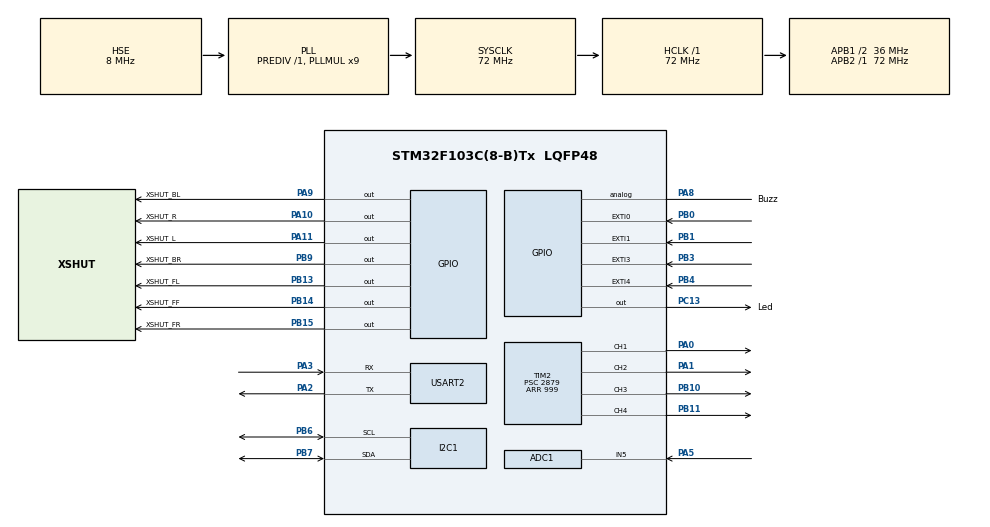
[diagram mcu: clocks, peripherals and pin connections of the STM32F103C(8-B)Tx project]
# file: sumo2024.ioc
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ADC1.Channel-8\#ChannelRegularConversion=ADC_CHANNEL_5
ADC1.ContinuousConvMode=ENABLE
ADC1.NbrOfConversionFlag=1
ADC1.Rank-8\#ChannelRegularConversion=1
ADC1.SamplingTime-8\#ChannelRegularConversion=ADC_SAMPLETIME_239CYCLES_5
ADC1.master=1
Dma.ADC1.1.Direction=DMA_PERIPH_TO_MEMORY
Dma.ADC1.1.Instance=DMA1_Channel1
Dma.ADC1.1.MemDataAlignment=DMA_MDATAALIGN_HALFWORD
Dma.ADC1.1.MemInc=DMA_MINC_ENABLE
Dma.ADC1.1.Mode=DMA_NORMAL
Dma.ADC1.1.PeriphDataAlignment=DMA_PDATAALIGN_HALFWORD
Dma.ADC1.1.PeriphInc=DMA_PINC_DISABLE
Dma.ADC1.1.Priority=DMA_PRIORITY_LOW
Dma.Request0=USART2_RX
Dma.Request1=ADC1
Dma.USART2_RX.0.Direction=DMA_PERIPH_TO_MEMORY
Dma.USART2_RX.0.Instance=DMA1_Channel6
Dma.USART2_RX.0.MemDataAlignment=DMA_MDATAALIGN_BYTE
Dma.USART2_RX.0.MemInc=DMA_MINC_ENABLE
Dma.USART2_RX.0.Mode=DMA_NORMAL
Dma.USART2_RX.0.PeriphDataAlignment=DMA_PDATAALIGN_BYTE
Dma.USART2_RX.0.PeriphInc=DMA_PINC_DISABLE
Dma.USART2_RX.0.Priority=DMA_PRIORITY_LOW
I2C1.I2C_Mode=I2C_Fast
Mcu.Family=STM32F1
Mcu.Name=STM32F103C(8-B)Tx
Mcu.Package=LQFP48
NVIC.DMA1_Channel1_IRQn=true\:1\:0\:true\:false\:true\:false\:true\:true
NVIC.DMA1_Channel6_IRQn=true\:1\:0\:true\:false\:true\:false\:true\:true
NVIC.EXTI0_IRQn=true\:1\:0\:true\:false\:true\:true\:true\:true
NVIC.EXTI1_IRQn=true\:1\:0\:true\:false\:true\:true\:true\:true
NVIC.EXTI3_IRQn=true\:1\:0\:true\:false\:true\:true\:true\:true
NVIC.EXTI4_IRQn=true\:1\:0\:true\:false\:true\:true\:true\:true
NVIC.PriorityGroup=NVIC_PRIORITYGROUP_4
NVIC.USART2_IRQn=true\:1\:0\:true\:false\:true\:true\:true\:true
PA0-WKUP.Signal=S_TIM2_CH1_ETR
PA1.Signal=S_TIM2_CH2
PA10.GPIO_Label=XSHUT_R
PA10.Signal=GPIO_Output
PA11.GPIO_Label=XSHUT_L
PA11.Signal=GPIO_Output
PA13.Mode=Serial_Wire
PA13.Signal=SYS_JTMS-SWDIO
PA14.Mode=Serial_Wire
PA14.Signal=SYS_JTCK-SWCLK
PA2.Mode=Asynchronous
PA2.Signal=USART2_TX
PA3.Mode=Asynchronous
PA3.Signal=USART2_RX
PA5.Signal=ADCx_IN5
PA8.GPIO_Label=Buzz
PA8.Signal=GPIO_Analog
PA9.GPIO_Label=XSHUT_BL
PA9.Signal=GPIO_Output
PB0.GPIO_PuPd=GPIO_PULLDOWN
PB0.Signal=GPXTI0
PB1.GPIO_PuPd=GPIO_PULLDOWN
PB1.Signal=GPXTI1
PB10.Signal=S_TIM2_CH3
PB11.Signal=S_TIM2_CH4
PB13.GPIO_Label=XSHUT_FL
PB13.Signal=GPIO_Output
PB14.GPIO_Label=XSHUT_FF
PB14.Signal=GPIO_Output
PB15.GPIO_Label=XSHUT_FR
PB15.Signal=GPIO_Output
PB3.GPIO_PuPd=GPIO_PULLDOWN
PB3.Signal=GPXTI3
PB4.GPIO_PuPd=GPIO_PULLDOWN
PB4.Signal=GPXTI4
PB6.Mode=I2C
PB6.Signal=I2C1_SCL
PB7.Mode=I2C
PB7.Signal=I2C1_SDA
PB9.GPIO_Label=XSHUT_BR
PB9.Signal=GPIO_Output
PC13-TAMPER-RTC.GPIO_Label=Led
PC13-TAMPER-RTC.Signal=GPIO_Output
PD0-OSC_IN.Mode=HSE-External-Oscillator
PD0-OSC_IN.Signal=RCC_OSC_IN
PD1-OSC_OUT.Mode=HSE-External-Oscillator
PD1-OSC_OUT.Signal=RCC_OSC_OUT
ProjectManager.HeapSize=0x200
ProjectManager.StackSize=0x400
ProjectManager.TargetToolchain=MDK-ARM V5
RCC.ADCPresc=RCC_ADCPCLK2_DIV6
RCC.AHBFreq_Value=72000000
RCC.APB1CLKDivider=RCC_HCLK_DIV2
RCC.APB1Freq_Value=36000000
RCC.APB1TimFreq_Value=72000000
RCC.APB2Freq_Value=72000000
RCC.APB2TimFreq_Value=72000000
RCC.HCLKFreq_Value=72000000
RCC.PLLMUL=RCC_PLL_MUL9
RCC.PLLSourceVirtual=RCC_PLLSOURCE_HSE
RCC.SYSCLKFreq_VALUE=72000000
RCC.SYSCLKSource=RCC_SYSCLKSOURCE_PLLCLK
RCC.USBFreq_Value=72000000
SH.ADCx_IN5.0=ADC1_IN5,IN5
SH.S_TIM2_CH1_ETR.0=TIM2_CH1,PWM Generation1 CH1
SH.S_TIM2_CH2.0=TIM2_CH2,PWM Generation2 CH2
SH.S_TIM2_CH3.0=TIM2_CH3,PWM Generation3 CH3
SH.S_TIM2_CH4.0=TIM2_CH4,PWM Generation4 CH4
TIM1.Period=999
TIM1.Prescaler=79
TIM2.AutoReloadPreload=TIM_AUTORELOAD_PRELOAD_DISABLE
TIM2.Channel-PWM\ Generation1\ CH1=TIM_CHANNEL_1
TIM2.Channel-PWM\ Generation2\ CH2=TIM_CHANNEL_2
TIM2.Channel-PWM\ Generation3\ CH3=TIM_CHANNEL_3
TIM2.Channel-PWM\ Generation4\ CH4=TIM_CHANNEL_4
TIM2.OCMode_PWM-PWM\ Generation3\ CH3=TIM_OCMODE_PWM1
TIM2.OCMode_PWM-PWM\ Generation4\ CH4=TIM_OCMODE_PWM1
TIM2.Period=999
TIM2.Prescaler=2879
USART2.VirtualMode=VM_ASYNC
VP_TIM1_VS_ClockSourceINT.Mode=Internal
VP_TIM2_VS_ClockSourceINT.Mode=Internal
VP_TIM3_VS_ClockSourceINT.Mode=Internal
board=custom

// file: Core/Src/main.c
/* USER CODE BEGIN Header */
/**
 ******************************************************************************
 * @file           : main.c
 * @brief          : Main program body
 ******************************************************************************
 * @attention
 *
 * Copyright (c) 2024 STMicroelectronics.
 * All rights reserved.
 *
 * This software is licensed under terms that can be found in the LICENSE file
 * in the root directory of this software component.
 * If no LICENSE file comes with this software, it is provided AS-IS.
 *
 ******************************************************************************
 */
/* USER CODE END Header */
#include "main.h"

/* USER CODE BEGIN Includes */

#include "stm32f1xx.h"
#include "tim_pwm.h"
#include "AML_LaserSensor.h"
#include "parameter.h"
#include "AML_MPUSensor.h"
// #include <stdbool.h>

/* USER CODE END Includes */

ADC_HandleTypeDef hadc1;
DMA_HandleTypeDef hdma_adc1;

I2C_HandleTypeDef hi2c1;

TIM_HandleTypeDef htim1;
TIM_HandleTypeDef htim2;
TIM_HandleTypeDef htim3;

UART_HandleTypeDef huart2;
DMA_HandleTypeDef hdma_usart2_rx;

/* USER CODE BEGIN PV */

uint8_t u8_fr = 1; // gpio_ext3
uint8_t u8_fl = 1; // gpio_ext0
uint8_t u8_br = 1; // gpio_ext4
uint8_t u8_bl = 1; // gpio_ext1
uint16_t currentIndex = 1;
uint32_t timer_begin_exit_L = 0;
uint32_t timer_begin_exit_R = 0;
// co interrupt
bool flagInterrupt_fl = false;
bool flagInterrupt_bl = false;
bool flagInterrupt_br = false;
bool flagInterrupt_fr = false;
bool flag_exit_R = false;
bool flag_exit_L = false;
int32_t timer1 = 0;
uint8_t i = 0;
double testAnge;
uint16_t target = 0;
int16_t old_ADC_value;
int16_t new_ADC_value = 4095; // Giá trị mới
uint16_t button[Array_Size_Button];
uint16_t adcvalue;
uint16_t temp;
static uint8_t plan_begin_danh_trai_called = 0;
static uint8_t plan_begin_danh_phai_called = 0;
static uint8_t plan_begin_dam_thang_called = 0;
static uint8_t plan_begin_Rote_callled = 0;
static uint8_t delay_done = 0;
#define RX_SIZE 36
uint8_t rxBuffer[RX_SIZE] = {119};
uint8_t ResetCommand[] = {0xFF, 0xAA, 0x52};
volatile double Angle, PreviousAngle = 0, SaveAngle = 0;
volatile uint8_t error = 0;
double g[3], T;

void (*func)();            // tro den ham chien thuat
void (*plan)(void) = NULL; // tro den ham bat dau
/* USER CODE END PV */

void SystemClock_Config(void);
static void MX_GPIO_Init(void);
static void MX_DMA_Init(void);
static void MX_I2C1_Init(void);
static void MX_TIM1_Init(void);
static void MX_ADC1_Init(void);
static void MX_TIM2_Init(void);
static void MX_USART2_UART_Init(void);
static void MX_TIM3_Init(void);
/* USER CODE BEGIN PFP */

void HAL_UARTEx_RxEventCallback(UART_HandleTypeDef *huart, uint16_t Size)
{
  HAL_UARTEx_ReceiveToIdle_DMA(&huart2, rxBuffer, RX_SIZE);
  PreviousAngle = Angle;
  if (rxBuffer[22] == 0x55)
  {
    g[0] = ((rxBuffer[25] << 8 | rxBuffer[24])) / 32768.0 * 180;
    g[1] = ((rxBuffer[27] << 8 | rxBuffer[26])) / 32768.0 * 180;
    g[2] = ((rxBuffer[29] << 8 | rxBuffer[28])) / 32768.0 * 180;
    T = ((rxBuffer[9] << 8 | rxBuffer[8])) / 340.0 + 36.25;
    math_PID(g[2]);
  }
}

/* USER CODE END PFP */

/* USER CODE BEGIN 0 */

void AML_motor_stop()
{
  PWM_Start(&htim2, LPWM1);
  PWM_Start(&htim2, LPWM2);
  PWM_Start(&htim2, RPWM1);
  PWM_Start(&htim2, RPWM2);
  PWM_Write(&htim2, LPWM1, 0);
  PWM_Write(&htim2, LPWM2, 0);
  PWM_Write(&htim2, RPWM1, 0);
  PWM_Write(&htim2, RPWM2, 0);
}
void AML_motor_forward(uint8_t speed)
{
  PWM_Start(&htim2, RPWM2);
  PWM_Start(&htim2, RPWM1);
  PWM_Write(&htim2, RPWM2, speed);
  PWM_Write(&htim2, RPWM1, speed);
}
void AML_motor_lef(uint8_t speed_L, uint8_t speed_R)
{
  PWM_Start(&htim2, RPWM2);
  PWM_Start(&htim2, LPWM1);
  PWM_Write(&htim2, RPWM2, speed_L - 50);
  PWM_Write(&htim2, LPWM1, speed_R);
}
void AML_motor_right(uint8_t speed_L, uint8_t speed_R)
{
  PWM_Start(&htim2, LPWM2);
  PWM_Start(&htim2, RPWM1);
  PWM_Write(&htim2, LPWM2, speed_L);
  PWM_Write(&htim2, RPWM1, speed_R - 50);
}
void AML_motor_back(uint8_t speed)
{
  PWM_Start(&htim2, LPWM1);
  PWM_Start(&htim2, LPWM2);
  PWM_Write(&htim2, LPWM1, speed);
  PWM_Write(&htim2, LPWM2, speed);
}
void AML_motor_turn_left(uint8_t speed_L, uint8_t speed_R)
{
  PWM_Start(&htim2, LPWM1);
  PWM_Start(&htim2, RPWM2);
  PWM_Write(&htim2, LPWM1, speed_L);
  PWM_Write(&htim2, RPWM2, speed_R);
}
void AML_motor_turn_right(uint8_t speed_R, uint8_t speed_L)
{
  PWM_Start(&htim2, RPWM1);
  PWM_Start(&htim2, LPWM2);
  PWM_Write(&htim2, RPWM1, speed_R);
  PWM_Write(&htim2, LPWM2, speed_L);
}
void delay_ms(uint32_t milliseconds)
{
  HAL_TIM_Base_Start(&htim3); // Start TIM3
  uint32_t start_time = HAL_GetTick();
  while (HAL_GetTick() - start_time < milliseconds)
  {
    // Wait
  }
  HAL_TIM_Base_Stop(&htim3); // Stop TIM3
}
void AML_IRSensor_standby()
{
  const uint32_t time1 = 500;

  while (flagInterrupt_fl && HAL_GetTick() - timer1 < time1)
    ;
  while (flagInterrupt_bl && HAL_GetTick() - timer1 < time1)
    ;
  while (flagInterrupt_br && HAL_GetTick() - timer1 < time1)
    ;
  while (flagInterrupt_fr && HAL_GetTick() - timer1 < time1)
    ;
  // dat lai co
  flagInterrupt_bl = false;
  flagInterrupt_br = false;
  flagInterrupt_fl = false;
  flagInterrupt_fr = false;
  AML_motor_stop();
}
void exit_R()
{
  uint32_t timer_exit_R = 1000;
  while (flag_exit_R && HAL_GetTick() - timer_begin_exit_R < timer_exit_R)
    ;
  PWM_Start(&htim2, RPWM2);
  PWM_Write(&htim2, RPWM2, 150);
  flag_exit_R = false;
}
void exit_L()
{
  uint32_t timer_exit_L = 1000;
  while (flag_exit_L && HAL_GetTick() - timer_begin_exit_L < timer_exit_L)
    ;
  PWM_Start(&htim2, RPWM1);
  PWM_Write(&htim2, RPWM1, 150);
  flag_exit_L = false;
}
void search1()
{
  target = searchNearest();
  if (target == 0)
  {
    /*
    khong tim thay doi thu
    xoay tron tim doi thu
    */
    // AML_motor_rote(PWM_speed_L, PWM_speed_R);
    HAL_GPIO_TogglePin(Led_GPIO_Port, Led_Pin);
    HAL_Delay(delay1);
  }
  if (target == 2)
  {
    // FF dam dau
    if (AML_LaserSensor_ReadSingleWithFillter(FF) < 100)
    {
      AML_motor_forward(PWM_speed);
    }
    else
    {
      AML_motor_forward(PWM_speed - 40);
    }
    HAL_GPIO_TogglePin(Led_GPIO_Port, Led_Pin);
    HAL_Delay(delay1);
  }
  if (target == 1)
  {
    // FL re trai
    if (AML_LaserSensor_ReadSingleWithFillter(FL) < 100)
    {
      AML_motor_lef(PWM_speed_L - 50, PWM_speed_R);
    }

    else
    {
      AML_motor_lef(PWM_speed_L - 50, PWM_speed_R);
    }
    HAL_GPIO_TogglePin(Led_GPIO_Port, Led_Pin);
    HAL_Delay(delay1);
  }
  if (target == 3)
  {
    if (AML_LaserSensor_ReadSingleWithFillter(FR) < 100)
    {
      AML_motor_right(PWM_speed_L, PWM_speed_R - 50);
    }
    else
    {
      AML_motor_right(PWM_speed_L, PWM_speed_R - 50);
    }
    HAL_GPIO_TogglePin(Led_GPIO_Port, Led_Pin);
    HAL_Delay(delay1);
  }
  if (target == 6)
  {
    // R quay sang phai
    AML_motor_right(PWM_speed_L, PWM_speed_R - 50);
    // timer_begin_exit_R = HAL_GetTick();
    // flag_exit_R = true;
    HAL_GPIO_TogglePin(Led_GPIO_Port, Led_Pin);
    HAL_Delay(100);
  }
  if (target == 7)
  {
    AML_motor_lef(PWM_speed_L - 50, PWM_speed_R);
    // timer_begin_exit_L = HAL_GetTick();
    // flag_exit_L = true;
    HAL_GPIO_TogglePin(Led_GPIO_Port, Led_Pin);
    HAL_Delay(100);
  }
  if (target == 4 || target == 5)
  {
    if (AML_LaserSensor_ReadSingleWithFillter(BL) < 40 || AML_LaserSensor_ReadSingleWithFillter(BR) < 40)
    {
      AML_motor_back(150);
    }
    else
    {
      AML_motor_back(100);
    }
    HAL_GPIO_TogglePin(Led_GPIO_Port, Led_Pin);
    HAL_Delay(delay1);
  }
}
void search2()
{
  target = searchNearest();
  switch (target)
  {
  case 0:
    AML_motor_stop();
    HAL_GPIO_TogglePin(Led_GPIO_Port, Led_Pin);
    break;
  case 1:
    AML_motor_lef(PWM_speed_L - 50, PWM_speed_R);
    HAL_Delay(50);
    HAL_GPIO_TogglePin(Led_GPIO_Port, Led_Pin);
    break;
  case 2:
    AML_motor_forward(PWM_speed);
    HAL_Delay(100);
    HAL_GPIO_TogglePin(Led_GPIO_Port, Led_Pin);
    break;
  case 3:
    AML_motor_right(PWM_speed_L, PWM_speed_R - 50);
    HAL_Delay(50);
    HAL_GPIO_TogglePin(Led_GPIO_Port, Led_Pin);
    break;
  case 4:
    AML_motor_back(150);
    HAL_Delay(100);
    HAL_GPIO_TogglePin(Led_GPIO_Port, Led_Pin);
    break;
  case 5:
    AML_motor_back(150);
    HAL_Delay(100);
    HAL_GPIO_TogglePin(Led_GPIO_Port, Led_Pin);
    break;
  case 6:
    AML_motor_right(PWM_speed_L, PWM_speed_R - 50);
    // timer_begin_exit_R = HAL_GetTick();
    // flag_exit_R = true;
    HAL_Delay(120);
    HAL_GPIO_TogglePin(Led_GPIO_Port, Led_Pin);
    break;
  case 7:
    AML_motor_lef(PWM_speed_L - 50, PWM_speed_R);
    // timer_begin_exit_L = HAL_GetTick();
    // flag_exit_L = true;
    HAL_Delay(120);
    HAL_GPIO_TogglePin(Led_GPIO_Port, Led_Pin);
    break;
  }
}
void plan_begin_danh_trai()
{
  AML_motor_forward(150);
  delay_ms(500);
  HAL_GPIO_WritePin(Led_GPIO_Port, Led_Pin, GPIO_PIN_RESET);
  AML_motor_turn_left(150, 150);
  delay_ms(800);
  HAL_GPIO_WritePin(Led_GPIO_Port, Led_Pin, GPIO_PIN_SET);
}
void plan_begin_danh_phai()
{
  AML_motor_forward(150);
  delay_ms(500);
  HAL_GPIO_WritePin(Led_GPIO_Port, Led_Pin, GPIO_PIN_RESET);
  AML_motor_turn_right(150, 150);
  delay_ms(800);
  HAL_GPIO_WritePin(Led_GPIO_Port, Led_Pin, GPIO_PIN_SET);
}
void plan_begin_dam_thang()
{
  AML_motor_forward(150);
  delay_ms(800);
  HAL_GPIO_TogglePin(Led_GPIO_Port, Led_Pin);
}
void plan_begin_Rote()
{
  AML_motor_turn_left(150, 150);
  delay_ms(500);
  AML_motor_stop();
  AML_motor_forward(150);
  delay_ms(500);

}
uint16_t read_analog_value(uint16_t new_value)
{
  // If the new value is 4095, skip updating
  if (new_value == 4095)
  {
    return old_ADC_value;
  }

  // Store the old value
  temp = old_ADC_value;

  // Update the old value
  old_ADC_value = new_value;

  return old_ADC_value;
}

void readADCStore()
{
  // Assume you have read the ADC value and stored it in adcvalue
  HAL_ADC_Start_DMA(&hadc1, (uint32_t *)button, 1);
  adcvalue = button[0]; // Replace with your actual ADC reading
  // Call the function to update the old ADC value
  uint16_t updated_ADC_value = read_analog_value(adcvalue);
  // Example logic based on the updated ADC value
  if (updated_ADC_value == 0)
  {
    AML_motor_stop();
    HAL_GPIO_TogglePin(Led_GPIO_Port, Led_Pin);
    plan_begin_danh_trai_called = 0;
    plan_begin_dam_thang_called = 0;
    plan_begin_danh_phai_called = 0;
    delay_done = 0;
  }
  else if (400 <= updated_ADC_value && updated_ADC_value <= 500)
  {
    if (!delay_done)
    {
      uint32_t start = HAL_GetTick();
      while (HAL_GetTick() - start < time_delay_begin)
        ;
      delay_done = 1;
    }
    if (!plan_begin_danh_trai_called)
    {
      // plan = &plan_begin_danh_trai;
      plan_begin_danh_trai();
      plan_begin_danh_trai_called = 1;
    }
    search2();
    HAL_GPIO_TogglePin(Led_GPIO_Port, Led_Pin);
  }
  else if (700 <= updated_ADC_value && updated_ADC_value <= 800)
  {
    if (!delay_done)
    {
      uint32_t start = HAL_GetTick();
      while (HAL_GetTick() - start < time_delay_begin)
        ;
      delay_done = 1;
    }
    if (!plan_begin_danh_phai_called)
    {
      plan_begin_danh_phai();
      plan_begin_danh_phai_called = 1;
    }
    search1();
    HAL_GPIO_TogglePin(Led_GPIO_Port, Led_Pin);
  }
  else if (3100 <= updated_ADC_value && updated_ADC_value <= 3200)
  {
    if (!delay_done)
    {
      uint32_t start = HAL_GetTick();
      while (HAL_GetTick() - start < time_delay_begin)
        ;
      delay_done = 1;
    }
    if (!plan_begin_dam_thang_called)
    {
      plan_begin_dam_thang();
      plan_begin_dam_thang_called = 1;
    }
    search2();
    HAL_GPIO_TogglePin(Led_GPIO_Port, Led_Pin);
  }
  else if (200 <= updated_ADC_value && updated_ADC_value <= 300)
  {
    if (!delay_done)
    {
      uint32_t start = HAL_GetTick();
      while (HAL_GetTick() - start < time_delay_begin)
        ;
      delay_done = 1;
    }
    if (!plan_begin_Rote_callled)
    {
      plan_begin_Rote();
      plan_begin_Rote_callled = 1;
    }
    search1();
    HAL_GPIO_TogglePin(Led_GPIO_Port, Led_Pin);
  }
  else
  {
    AML_motor_stop();
    HAL_GPIO_TogglePin(Led_GPIO_Port, Led_Pin);
    plan_begin_danh_trai_called = 0;
    plan_begin_dam_thang_called = 0;
    plan_begin_danh_phai_called = 0;
    delay_done = 0;
  }
}
/* USER CODE END 0 */

int main(void)
{

  /* MCU Configuration--------------------------------------------------------*/

  /* Reset of all peripherals, Initializes the Flash interface and the Systick. */
  HAL_Init();

  /* Configure the system clock */
  SystemClock_Config();

  /* Initialize all configured peripherals */
  MX_GPIO_Init();
  MX_DMA_Init();
  MX_I2C1_Init();
  MX_TIM1_Init();
  MX_ADC1_Init();
  MX_TIM2_Init();
  MX_USART2_UART_Init();
  MX_TIM3_Init();
  /* USER CODE BEGIN 2 */
  // HAL_Delay(3000); // delay 3s
  HAL_TIM_Base_Start(&htim2);
  AML_LaserSensor_Setup();
  HAL_UARTEx_ReceiveToIdle_DMA(&huart2, rxBuffer, RX_SIZE);
  __HAL_DMA_DISABLE_IT(&hdma_usart2_rx, DMA_IT_HT);
  AML_motor_stop();
  HAL_GPIO_WritePin(Led_GPIO_Port, Led_Pin, GPIO_PIN_RESET);

  /* USER CODE END 2 */

  /* Infinite loop */
  while (1)
  {

    /* USER CODE BEGIN 3 */
    readADCStore();
    AML_LaserSensor_ReadAll();
    print_sensorvalue();
    AML_IRSensor_standby();
    // exit_R();
    // exit_L();
    HAL_GPIO_TogglePin(Led_GPIO_Port, Led_Pin);
  }

  /* USER CODE END 3 */
}

void SystemClock_Config(void)
{
  RCC_OscInitTypeDef RCC_OscInitStruct = {0};
  RCC_ClkInitTypeDef RCC_ClkInitStruct = {0};
  RCC_PeriphCLKInitTypeDef PeriphClkInit = {0};

  /** Initializes the RCC Oscillators according to the specified parameters
   * in the RCC_OscInitTypeDef structure.
   */
  RCC_OscInitStruct.OscillatorType = RCC_OSCILLATORTYPE_HSE;
  RCC_OscInitStruct.HSEState = RCC_HSE_ON;
  RCC_OscInitStruct.HSEPredivValue = RCC_HSE_PREDIV_DIV1;
  RCC_OscInitStruct.HSIState = RCC_HSI_ON;
  RCC_OscInitStruct.PLL.PLLState = RCC_PLL_ON;
  RCC_OscInitStruct.PLL.PLLSource = RCC_PLLSOURCE_HSE;
  RCC_OscInitStruct.PLL.PLLMUL = RCC_PLL_MUL9;
  if (HAL_RCC_OscConfig(&RCC_OscInitStruct) != HAL_OK)
  {
    Error_Handler();
  }

  /** Initializes the CPU, AHB and APB buses clocks
   */
  RCC_ClkInitStruct.ClockType = RCC_CLOCKTYPE_HCLK | RCC_CLOCKTYPE_SYSCLK | RCC_CLOCKTYPE_PCLK1 | RCC_CLOCKTYPE_PCLK2;
  RCC_ClkInitStruct.SYSCLKSource = RCC_SYSCLKSOURCE_PLLCLK;
  RCC_ClkInitStruct.AHBCLKDivider = RCC_SYSCLK_DIV1;
  RCC_ClkInitStruct.APB1CLKDivider = RCC_HCLK_DIV2;
  RCC_ClkInitStruct.APB2CLKDivider = RCC_HCLK_DIV1;

  if (HAL_RCC_ClockConfig(&RCC_ClkInitStruct, FLASH_LATENCY_2) != HAL_OK)
  {
    Error_Handler();
  }
  PeriphClkInit.PeriphClockSelection = RCC_PERIPHCLK_ADC;
  PeriphClkInit.AdcClockSelection = RCC_ADCPCLK2_DIV6;
  if (HAL_RCCEx_PeriphCLKConfig(&PeriphClkInit) != HAL_OK)
  {
    Error_Handler();
  }
}

static void MX_ADC1_Init(void)
{

  ADC_ChannelConfTypeDef sConfig = {0};

  /** Common config
   */
  hadc1.Instance = ADC1;
  hadc1.Init.ScanConvMode = ADC_SCAN_DISABLE;
  hadc1.Init.ContinuousConvMode = ENABLE;
  hadc1.Init.DiscontinuousConvMode = DISABLE;
  hadc1.Init.ExternalTrigConv = ADC_SOFTWARE_START;
  hadc1.Init.DataAlign = ADC_DATAALIGN_RIGHT;
  hadc1.Init.NbrOfConversion = 1;
  if (HAL_ADC_Init(&hadc1) != HAL_OK)
  {
    Error_Handler();
  }

  /** Configure Regular Channel
   */
  sConfig.Channel = ADC_CHANNEL_5;
  sConfig.Rank = ADC_REGULAR_RANK_1;
  sConfig.SamplingTime = ADC_SAMPLETIME_239CYCLES_5;
  if (HAL_ADC_ConfigChannel(&hadc1, &sConfig) != HAL_OK)
  {
    Error_Handler();
  }
}

static void MX_I2C1_Init(void)
{

  hi2c1.Instance = I2C1;
  hi2c1.Init.ClockSpeed = 400000;
  hi2c1.Init.DutyCycle = I2C_DUTYCYCLE_2;
  hi2c1.Init.OwnAddress1 = 0;
  hi2c1.Init.AddressingMode = I2C_ADDRESSINGMODE_7BIT;
  hi2c1.Init.DualAddressMode = I2C_DUALADDRESS_DISABLE;
  hi2c1.Init.OwnAddress2 = 0;
  hi2c1.Init.GeneralCallMode = I2C_GENERALCALL_DISABLE;
  hi2c1.Init.NoStretchMode = I2C_NOSTRETCH_DISABLE;
  if (HAL_I2C_Init(&hi2c1) != HAL_OK)
  {
    Error_Handler();
  }
}

static void MX_TIM1_Init(void)
{

  TIM_ClockConfigTypeDef sClockSourceConfig = {0};
  TIM_MasterConfigTypeDef sMasterConfig = {0};

  htim1.Instance = TIM1;
  htim1.Init.Prescaler = 79;
  htim1.Init.CounterMode = TIM_COUNTERMODE_UP;
  htim1.Init.Period = 999;
  htim1.Init.ClockDivision = TIM_CLOCKDIVISION_DIV1;
  htim1.Init.RepetitionCounter = 0;
  htim1.Init.AutoReloadPreload = TIM_AUTORELOAD_PRELOAD_DISABLE;
  if (HAL_TIM_Base_Init(&htim1) != HAL_OK)
  {
    Error_Handler();
  }
  sClockSourceConfig.ClockSource = TIM_CLOCKSOURCE_INTERNAL;
  if (HAL_TIM_ConfigClockSource(&htim1, &sClockSourceConfig) != HAL_OK)
  {
    Error_Handler();
  }
  sMasterConfig.MasterOutputTrigger = TIM_TRGO_RESET;
  sMasterConfig.MasterSlaveMode = TIM_MASTERSLAVEMODE_DISABLE;
  if (HAL_TIMEx_MasterConfigSynchronization(&htim1, &sMasterConfig) != HAL_OK)
  {
    Error_Handler();
  }
}

static void MX_TIM2_Init(void)
{

  TIM_ClockConfigTypeDef sClockSourceConfig = {0};
  TIM_MasterConfigTypeDef sMasterConfig = {0};
  TIM_OC_InitTypeDef sConfigOC = {0};

  htim2.Instance = TIM2;
  htim2.Init.Prescaler = 2879;
  htim2.Init.CounterMode = TIM_COUNTERMODE_UP;
  htim2.Init.Period = 999;
  htim2.Init.ClockDivision = TIM_CLOCKDIVISION_DIV1;
  htim2.Init.AutoReloadPreload = TIM_AUTORELOAD_PRELOAD_DISABLE;
  if (HAL_TIM_Base_Init(&htim2) != HAL_OK)
  {
    Error_Handler();
  }
  sClockSourceConfig.ClockSource = TIM_CLOCKSOURCE_INTERNAL;
  if (HAL_TIM_ConfigClockSource(&htim2, &sClockSourceConfig) != HAL_OK)
  {
    Error_Handler();
  }
  if (HAL_TIM_PWM_Init(&htim2) != HAL_OK)
  {
    Error_Handler();
  }
  sMasterConfig.MasterOutputTrigger = TIM_TRGO_RESET;
  sMasterConfig.MasterSlaveMode = TIM_MASTERSLAVEMODE_DISABLE;
  if (HAL_TIMEx_MasterConfigSynchronization(&htim2, &sMasterConfig) != HAL_OK)
  {
    Error_Handler();
  }
  sConfigOC.OCMode = TIM_OCMODE_PWM1;
  sConfigOC.Pulse = 0;
  sConfigOC.OCPolarity = TIM_OCPOLARITY_HIGH;
  sConfigOC.OCFastMode = TIM_OCFAST_DISABLE;
  if (HAL_TIM_PWM_ConfigChannel(&htim2, &sConfigOC, TIM_CHANNEL_1) != HAL_OK)
  {
    Error_Handler();
  }
  if (HAL_TIM_PWM_ConfigChannel(&htim2, &sConfigOC, TIM_CHANNEL_2) != HAL_OK)
  {
    Error_Handler();
  }
  if (HAL_TIM_PWM_ConfigChannel(&htim2, &sConfigOC, TIM_CHANNEL_3) != HAL_OK)
  {
    Error_Handler();
  }
  if (HAL_TIM_PWM_ConfigChannel(&htim2, &sConfigOC, TIM_CHANNEL_4) != HAL_OK)
  {
    Error_Handler();
  }
  HAL_TIM_MspPostInit(&htim2);
}

static void MX_TIM3_Init(void)
{

  TIM_ClockConfigTypeDef sClockSourceConfig = {0};
  TIM_MasterConfigTypeDef sMasterConfig = {0};

  htim3.Instance = TIM3;
  htim3.Init.Prescaler = 0;
  htim3.Init.CounterMode = TIM_COUNTERMODE_UP;
  htim3.Init.Period = 65535;
  htim3.Init.ClockDivision = TIM_CLOCKDIVISION_DIV1;
  htim3.Init.AutoReloadPreload = TIM_AUTORELOAD_PRELOAD_DISABLE;
  if (HAL_TIM_Base_Init(&htim3) != HAL_OK)
  {
    Error_Handler();
  }
  sClockSourceConfig.ClockSource = TIM_CLOCKSOURCE_INTERNAL;
  if (HAL_TIM_ConfigClockSource(&htim3, &sClockSourceConfig) != HAL_OK)
  {
    Error_Handler();
  }
  sMasterConfig.MasterOutputTrigger = TIM_TRGO_RESET;
  sMasterConfig.MasterSlaveMode = TIM_MASTERSLAVEMODE_DISABLE;
  if (HAL_TIMEx_MasterConfigSynchronization(&htim3, &sMasterConfig) != HAL_OK)
  {
    Error_Handler();
  }
}

static void MX_USART2_UART_Init(void)
{

  huart2.Instance = USART2;
  huart2.Init.BaudRate = 115200;
  huart2.Init.WordLength = UART_WORDLENGTH_8B;
  huart2.Init.StopBits = UART_STOPBITS_1;
  huart2.Init.Parity = UART_PARITY_NONE;
  huart2.Init.Mode = UART_MODE_TX_RX;
  huart2.Init.HwFlowCtl = UART_HWCONTROL_NONE;
  huart2.Init.OverSampling = UART_OVERSAMPLING_16;
  if (HAL_UART_Init(&huart2) != HAL_OK)
  {
    Error_Handler();
  }
}

static void MX_DMA_Init(void)
{

  /* DMA controller clock enable */
  __HAL_RCC_DMA1_CLK_ENABLE();

  /* DMA interrupt init */
  /* DMA1_Channel1_IRQn interrupt configuration */
  HAL_NVIC_SetPriority(DMA1_Channel1_IRQn, 1, 0);
  HAL_NVIC_EnableIRQ(DMA1_Channel1_IRQn);
  /* DMA1_Channel6_IRQn interrupt configuration */
  HAL_NVIC_SetPriority(DMA1_Channel6_IRQn, 1, 0);
  HAL_NVIC_EnableIRQ(DMA1_Channel6_IRQn);
}

static void MX_GPIO_Init(void)
{
  GPIO_InitTypeDef GPIO_InitStruct = {0};

  /* GPIO Ports Clock Enable */
  __HAL_RCC_GPIOC_CLK_ENABLE();
  __HAL_RCC_GPIOD_CLK_ENABLE();
  __HAL_RCC_GPIOA_CLK_ENABLE();
  __HAL_RCC_GPIOB_CLK_ENABLE();

  /*Configure GPIO pin Output Level */
  HAL_GPIO_WritePin(Led_GPIO_Port, Led_Pin, GPIO_PIN_RESET);

  /*Configure GPIO pin Output Level */
  HAL_GPIO_WritePin(GPIOB, XSHUT_FL_Pin | XSHUT_FF_Pin | XSHUT_FR_Pin | XSHUT_BR_Pin, GPIO_PIN_RESET);

  /*Configure GPIO pin Output Level */
  HAL_GPIO_WritePin(GPIOA, XSHUT_BL_Pin | XSHUT_R_Pin | XSHUT_L_Pin, GPIO_PIN_RESET);

  /*Configure GPIO pin : Led_Pin */
  GPIO_InitStruct.Pin = Led_Pin;
  GPIO_InitStruct.Mode = GPIO_MODE_OUTPUT_PP;
  GPIO_InitStruct.Pull = GPIO_NOPULL;
  GPIO_InitStruct.Speed = GPIO_SPEED_FREQ_LOW;
  HAL_GPIO_Init(Led_GPIO_Port, &GPIO_InitStruct);

  /*Configure GPIO pins : PB0 PB1 PB3 PB4 */
  GPIO_InitStruct.Pin = GPIO_PIN_0 | GPIO_PIN_1 | GPIO_PIN_3 | GPIO_PIN_4;
  GPIO_InitStruct.Mode = GPIO_MODE_IT_RISING;
  GPIO_InitStruct.Pull = GPIO_PULLDOWN;
  HAL_GPIO_Init(GPIOB, &GPIO_InitStruct);

  /*Configure GPIO pins : XSHUT_FL_Pin XSHUT_FF_Pin XSHUT_FR_Pin XSHUT_BR_Pin */
  GPIO_InitStruct.Pin = XSHUT_FL_Pin | XSHUT_FF_Pin | XSHUT_FR_Pin | XSHUT_BR_Pin;
  GPIO_InitStruct.Mode = GPIO_MODE_OUTPUT_PP;
  GPIO_InitStruct.Pull = GPIO_NOPULL;
  GPIO_InitStruct.Speed = GPIO_SPEED_FREQ_LOW;
  HAL_GPIO_Init(GPIOB, &GPIO_InitStruct);

  /*Configure GPIO pin : Buzz_Pin */
  GPIO_InitStruct.Pin = Buzz_Pin;
  GPIO_InitStruct.Mode = GPIO_MODE_ANALOG;
  HAL_GPIO_Init(Buzz_GPIO_Port, &GPIO_InitStruct);

  /*Configure GPIO pins : XSHUT_BL_Pin XSHUT_R_Pin XSHUT_L_Pin */
  GPIO_InitStruct.Pin = XSHUT_BL_Pin | XSHUT_R_Pin | XSHUT_L_Pin;
  GPIO_InitStruct.Mode = GPIO_MODE_OUTPUT_PP;
  GPIO_InitStruct.Pull = GPIO_NOPULL;
  GPIO_InitStruct.Speed = GPIO_SPEED_FREQ_LOW;
  HAL_GPIO_Init(GPIOA, &GPIO_InitStruct);

  /* EXTI interrupt init*/
  HAL_NVIC_SetPriority(EXTI0_IRQn, 1, 0);
  HAL_NVIC_EnableIRQ(EXTI0_IRQn);

  HAL_NVIC_SetPriority(EXTI1_IRQn, 1, 0);
  HAL_NVIC_EnableIRQ(EXTI1_IRQn);

  HAL_NVIC_SetPriority(EXTI3_IRQn, 1, 0);
  HAL_NVIC_EnableIRQ(EXTI3_IRQn);

  HAL_NVIC_SetPriority(EXTI4_IRQn, 1, 0);
  HAL_NVIC_EnableIRQ(EXTI4_IRQn);

}

/* USER CODE BEGIN 4 */

void interrupt_bl()
{
  AML_motor_forward(150);
  flagInterrupt_bl = true; // bat co
  timer1 = HAL_GetTick();  // moc thoi gian bat dau thoat hiem
  flagInterrupt_br = false;
  flagInterrupt_fl = false;
  flagInterrupt_fr = false;
}

void interrupt_br()
{
  AML_motor_forward(150);
  flagInterrupt_br = true; // bat co
  timer1 = HAL_GetTick();  // moc thoi gian bat dau thoat hiem
  flagInterrupt_bl = false;
  flagInterrupt_fl = false;
  flagInterrupt_fr = false;
}

void interrupt_fl()
{
  AML_motor_back(150);
  flagInterrupt_fl = true; // bat co
  timer1 = HAL_GetTick();  // moc thoi gian bat dau thoat hiem
  flagInterrupt_br = false;
  flagInterrupt_bl = false;
  flagInterrupt_fr = false;
}
void interrupt_fr()
{
  AML_motor_back(150);
  flagInterrupt_fr = true; // bat co
  timer1 = HAL_GetTick();  // moc thoi gian bat dau thoat hiem
  flagInterrupt_br = false;
  flagInterrupt_fl = false;
  flagInterrupt_bl = false;
}

void HAL_GPIO_EXTI_Callback(uint16_t GPIO_Pin)
{
  /* Prevent unused argument(s) compilation warning */
  UNUSED(GPIO_Pin);
  if (GPIO_Pin == GPIO_PIN_0)
  {
    u8_fl = 0; // ir4
    interrupt_fl();
  }
  if (GPIO_Pin == GPIO_PIN_1)
  {
    u8_bl = 0; // ir2
    interrupt_bl();
  }
  if (GPIO_Pin == GPIO_PIN_4)
  {
    u8_br = 0; // ir1
    interrupt_br();
  }
  if (GPIO_Pin == GPIO_PIN_3)
  {
    u8_fr = 0; // ir3
    interrupt_fr();
  }
}

/* USER CODE END 4 */

void Error_Handler(void)
{
  __disable_irq();
  while (1)
  {
  }
}
